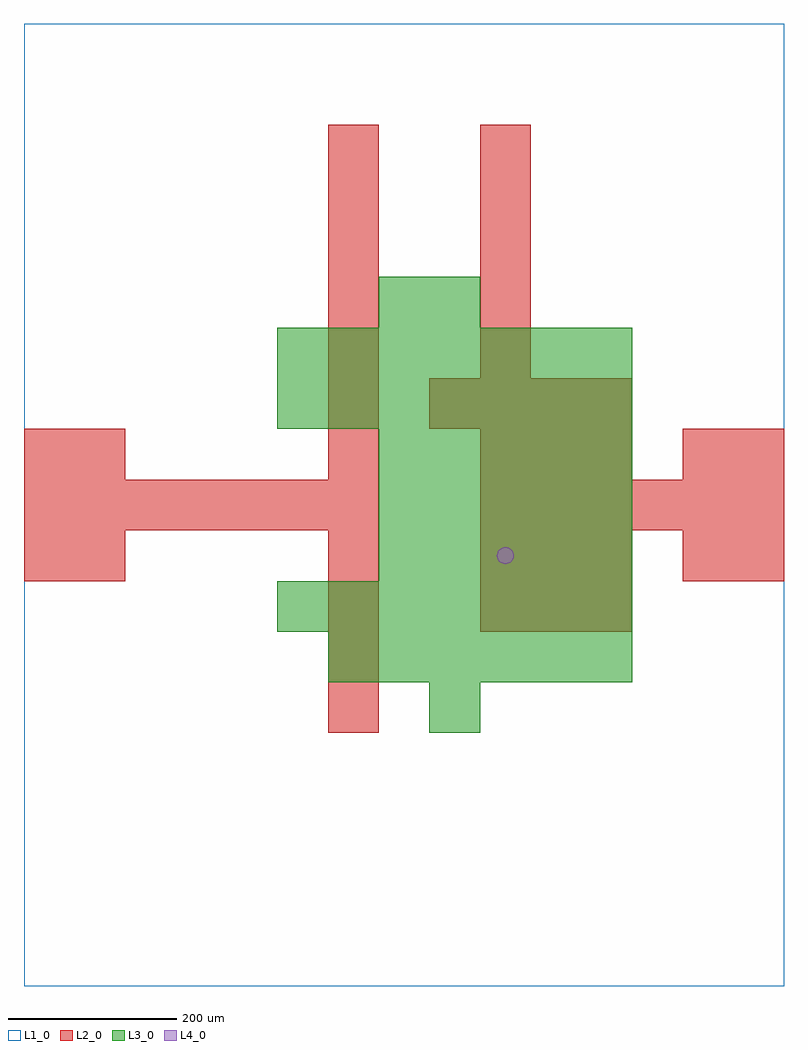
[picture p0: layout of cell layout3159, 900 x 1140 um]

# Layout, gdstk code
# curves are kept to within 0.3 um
import gdstk
lib = gdstk.Library(unit=1e-6, precision=1e-09)
def R(c, l, rs):  # rectangles x0, y0, x1, y1
    for r in rs: c.add(gdstk.rectangle(r[:2], r[2:], *l))
def A(c, l, x, y, w, h, nx, ny, dx, dy):  # array of equal rectangles
    R(c, l, [(x+i*dx, y+j*dy, x+i*dx+w, y+j*dy+h) for i in range(nx) for j in range(ny)])
def P(c, l, *ps):  # polygons
    for p in ps: c.add(gdstk.Polygon(p, *l))
L1_0 = (1, 0)
L2_0 = (2, 0)
L3_0 = (3, 0)
L4_0 = (4, 0)

layout3159 = lib.new_cell('layout3159')
R(layout3159, L1_0, [(0,0,900,1140)])
A(layout3159, L2_0, 360, 300, 60, 60, 1, 4, 0, 60)
A(layout3159, L2_0, 540, 420, 60, 60, 3, 2, 60, 60)
A(layout3159, L2_0, 0, 540, 60, 60, 7, 1, 60, 0)
A(layout3159, L2_0, 540, 540, 60, 60, 6, 1, 60, 0)
A(layout3159, L2_0, 360, 600, 60, 60, 1, 7, 0, 60)
A(layout3159, L2_0, 540, 600, 60, 60, 3, 1, 60, 0)
A(layout3159, L2_0, 480, 660, 60, 60, 4, 1, 60, 0)
A(layout3159, L2_0, 540, 720, 60, 60, 1, 5, 0, 60)
R(layout3159, L2_0, [(0,480,60,540), (60,480,120,540), (780,480,840,540), (840,480,900,540), (0,600,60,660), (60,600,120,660), (780,600,840,660), (840,600,900,660)])
A(layout3159, L3_0, 360, 360, 60, 60, 6, 1, 60, 0)
A(layout3159, L3_0, 300, 420, 60, 60, 7, 2, 60, 240)
A(layout3159, L3_0, 420, 480, 60, 60, 5, 3, 60, 60)
A(layout3159, L3_0, 300, 720, 60, 60, 7, 1, 60, 0)
R(layout3159, L3_0, [(480,300,540,360), (420,780,480,840), (480,780,540,840)])
P(layout3159, L4_0, [(580,510),(579.239,513.827),(577.071,517.071),(573.827,519.239),(570,520),(566.173,519.239),(562.929,517.071),(560.761,513.827),(560,510),(560.761,506.173),(562.929,502.929),(566.173,500.761),(570,500),(573.827,500.761),(577.071,502.929),(579.239,506.173)])

lib.write_gds('layout3159.gds')
